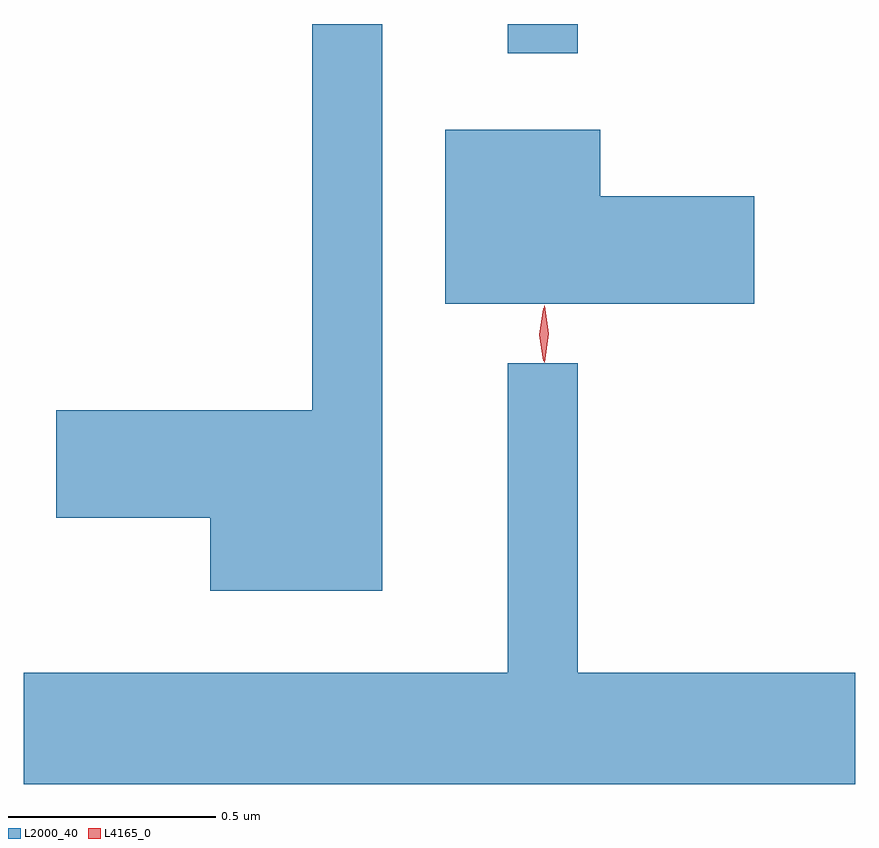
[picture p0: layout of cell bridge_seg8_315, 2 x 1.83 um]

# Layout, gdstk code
import gdstk
lib = gdstk.Library(unit=1e-6, precision=1e-09)
def R(c, l, rs):  # rectangles x0, y0, x1, y1
    for r in rs: c.add(gdstk.rectangle(r[:2], r[2:], *l))
def P(c, l, *ps):  # polygons
    for p in ps: c.add(gdstk.Polygon(p, *l))
L2000_40 = (2000, 40)
L4165_0 = (4165, 0)

bridge_seg8_315 = lib.new_cell('bridge_seg8_315')
R(bridge_seg8_315, L2000_40, [(983.761,1889.233,983.929,1889.303)])
P(bridge_seg8_315, L2000_40, [(983.459,1889.303),(983.291,1889.303),(983.291,1888.374),(982.676,1888.374),(982.676,1888.116),(983.046,1888.116),(983.046,1887.941),(983.459,1887.941)],
  [(984.354,1888.889),(983.984,1888.889),(983.984,1889.049),(983.611,1889.049),(983.611,1888.631),(984.354,1888.631)],
  [(984.597,1887.744),(983.929,1887.744),(983.929,1888.488),(983.761,1888.488),(983.761,1887.744),(982.597,1887.744),(982.597,1887.476),(984.597,1887.476)])
P(bridge_seg8_315, L4165_0, [(983.849,1888.49),(983.84,1888.558),(983.849,1888.626),(983.85,1888.626),(983.85,1888.626),(983.86,1888.558),(983.85,1888.49),(983.85,1888.49)],
  [(983.847,1888.493),(983.847,1888.493),(983.837,1888.556),(983.847,1888.619),(983.847,1888.62),(983.848,1888.619),(983.858,1888.556),(983.848,1888.493)])

lib.write_gds('bridge_seg8_315.gds')
